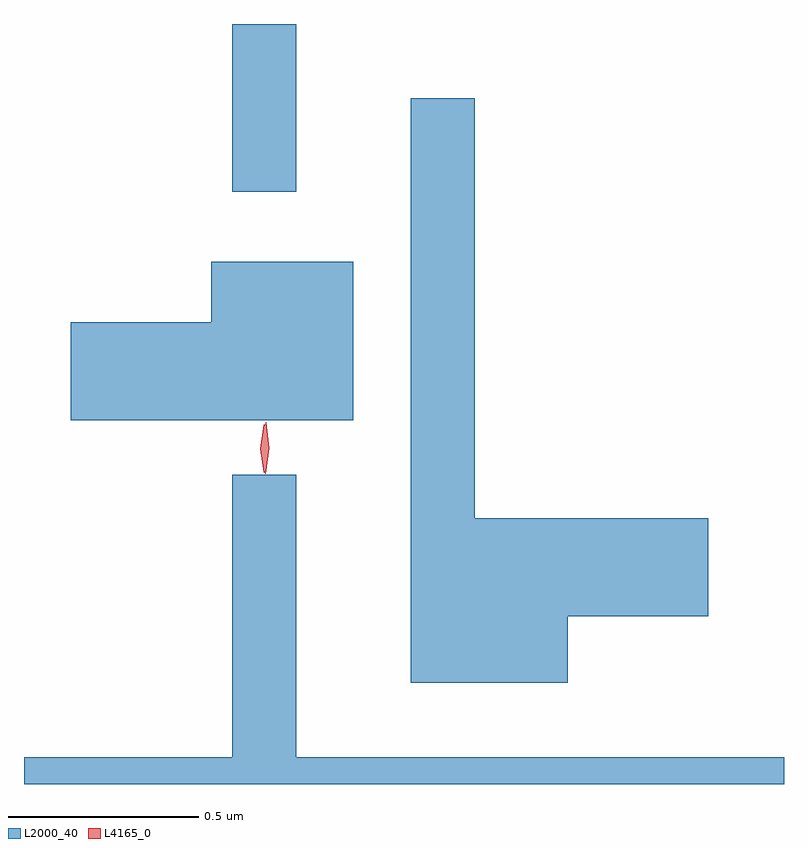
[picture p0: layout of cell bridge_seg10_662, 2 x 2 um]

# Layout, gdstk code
import gdstk
lib = gdstk.Library(unit=1e-6, precision=1e-09)
def R(c, l, rs):  # rectangles x0, y0, x1, y1
    for r in rs: c.add(gdstk.rectangle(r[:2], r[2:], *l))
def P(c, l, *ps):  # polygons
    for p in ps: c.add(gdstk.Polygon(p, *l))
L2000_40 = (2000, 40)
L4165_0 = (4165, 0)

bridge_seg10_662 = lib.new_cell('bridge_seg10_662')
R(bridge_seg10_662, L2000_40, [(660.091,2146.753,660.259,2147.194)])
P(bridge_seg10_662, L2000_40, [(660.974,2145.636),(661.344,2145.636),(661.344,2145.894),(660.729,2145.894),(660.729,2146.998),(660.561,2146.998),(660.561,2145.461),(660.974,2145.461)],
  [(660.409,2146.569),(660.036,2146.569),(660.036,2146.409),(659.666,2146.409),(659.666,2146.151),(660.409,2146.151)],
  [(661.543,2145.264),(660.259,2145.264),(660.259,2146.008),(660.091,2146.008),(660.091,2145.264),(659.543,2145.264),(659.543,2145.194),(661.543,2145.194)])
P(bridge_seg10_662, L4165_0, [(660.175,2146.013),(660.174,2146.014),(660.165,2146.076),(660.174,2146.14),(660.175,2146.14),(660.176,2146.14),(660.185,2146.076),(660.176,2146.014)],
  [(660.178,2146.01),(660.178,2146.01),(660.169,2146.078),(660.179,2146.146),(660.18,2146.146),(660.18,2146.146),(660.189,2146.078),(660.179,2146.01)])

lib.write_gds('bridge_seg10_662.gds')
